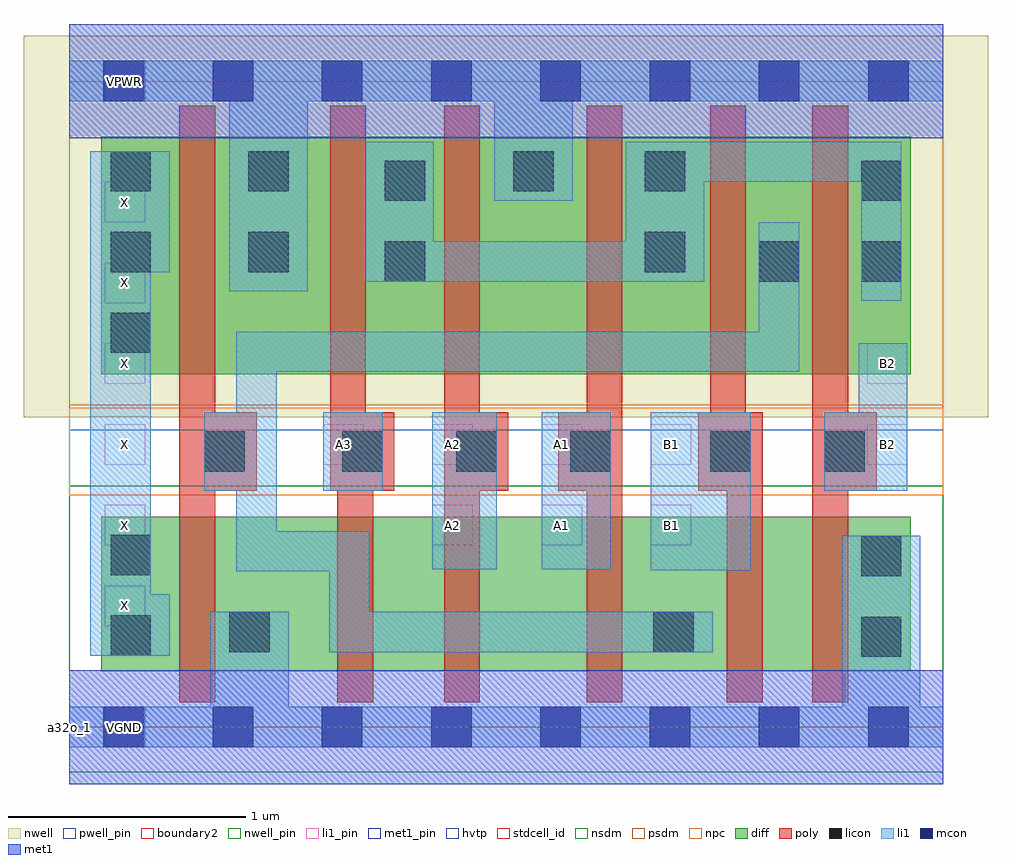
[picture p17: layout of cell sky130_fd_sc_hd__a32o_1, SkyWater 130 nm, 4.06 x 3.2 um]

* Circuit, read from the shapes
.subckt sky130_fd_sc_hd__a32o_1 A1 A2 A3 B1 B2 VGND VNB VPB VPWR X
XM1 VGND n1 X VNB sky130_fd_pr__nfet_01v8 w=0.65 l=0.15
XM2 n2 A3 VGND VNB sky130_fd_pr__nfet_01v8 w=0.65 l=0.15
XM3 n3 A2 n2 VNB sky130_fd_pr__nfet_01v8 w=0.65 l=0.15
XM4 n1 A1 n3 VNB sky130_fd_pr__nfet_01v8 w=0.65 l=0.15
XM5 n4 B1 n1 VNB sky130_fd_pr__nfet_01v8 w=0.65 l=0.15
XM6 VGND B2 n4 VNB sky130_fd_pr__nfet_01v8 w=0.65 l=0.15
XM7 VPWR n1 X VPB sky130_fd_pr__pfet_01v8_hvt w=1 l=0.15
XM8 n5 A3 VPWR VPB sky130_fd_pr__pfet_01v8_hvt w=1 l=0.15
XM9 VPWR A2 n5 VPB sky130_fd_pr__pfet_01v8_hvt w=1 l=0.15
XM10 n5 A1 VPWR VPB sky130_fd_pr__pfet_01v8_hvt w=1 l=0.15
XM11 n1 B1 n5 VPB sky130_fd_pr__pfet_01v8_hvt w=1 l=0.15
XM12 n5 B2 n1 VPB sky130_fd_pr__pfet_01v8_hvt w=1 l=0.15
.ends

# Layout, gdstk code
import gdstk
lib = gdstk.Library(unit=1e-6, precision=1e-09)
def R(c, l, rs):  # rectangles x0, y0, x1, y1
    for r in rs: c.add(gdstk.rectangle(r[:2], r[2:], *l))
def A(c, l, x, y, w, h, nx, ny, dx, dy):  # array of equal rectangles
    R(c, l, [(x+i*dx, y+j*dy, x+i*dx+w, y+j*dy+h) for i in range(nx) for j in range(ny)])
def P(c, l, *ps):  # polygons
    for p in ps: c.add(gdstk.Polygon(p, *l))
nwell_pin = (64, 16)
nwell = (64, 20)
diff = (65, 20)
poly = (66, 20)
licon = (66, 44)
li1_pin = (67, 16)
li1 = (67, 20)
mcon = (67, 44)
met1_pin = (68, 16)
met1 = (68, 20)
hvtp = (78, 44)
stdcell_id = (81, 4)
nsdm = (93, 44)
psdm = (94, 20)
npc = (95, 20)
pwell_pin = (122, 16)
boundary2 = (236, 0)

sky130_fd_sc_hd__a32o_1 = lib.new_cell('sky130_fd_sc_hd__a32o_1')
R(sky130_fd_sc_hd__a32o_1, nwell_pin, [(0.15,2.635,0.32,2.805)])
R(sky130_fd_sc_hd__a32o_1, nwell, [(-0.19,1.305,3.87,2.91)])
R(sky130_fd_sc_hd__a32o_1, diff, [(0.135,0.235,3.545,0.885), (0.135,1.485,3.545,2.485)])
P(sky130_fd_sc_hd__a32o_1, poly, [(0.79,1.325),(0.615,1.325),(0.615,2.615),(0.465,2.615),(0.465,0.105),(0.615,0.105),(0.615,0.995),(0.79,0.995)],
  [(1.37,1.325),(1.25,1.325),(1.25,2.615),(1.1,2.615),(1.1,0.995),(1.13,0.995),(1.13,0.105),(1.28,0.105),(1.28,0.995),(1.37,0.995)],
  [(1.85,1.325),(1.73,1.325),(1.73,2.615),(1.58,2.615),(1.58,0.105),(1.73,0.105),(1.73,0.995),(1.85,0.995)],
  [(2.33,2.615),(2.18,2.615),(2.18,1.325),(2.06,1.325),(2.06,0.995),(2.18,0.995),(2.18,0.105),(2.33,0.105)],
  [(2.92,1.325),(2.85,1.325),(2.85,2.615),(2.7,2.615),(2.7,1.325),(2.65,1.325),(2.65,0.995),(2.77,0.995),(2.77,0.105),(2.92,0.105)],
  [(3.4,1.325),(3.28,1.325),(3.28,2.615),(3.13,2.615),(3.13,0.105),(3.28,0.105),(3.28,0.995),(3.4,0.995)])
A(sky130_fd_sc_hd__a32o_1, licon, 1.15, 1.075, 0.17, 0.17, 3, 1, 0.48, 0)
A(sky130_fd_sc_hd__a32o_1, licon, 0.175, 1.575, 0.17, 0.17, 1, 3, 0, 0.34)
R(sky130_fd_sc_hd__a32o_1, licon, [(3.335,0.295,3.505,0.465), (0.175,0.3,0.345,0.47), (0.675,0.315,0.845,0.485), (2.46,0.315,2.63,0.485), (3.335,0.635,3.505,0.805), (0.175,0.64,0.345,0.81), (0.57,1.075,0.74,1.245), (2.7,1.075,2.87,1.245), (3.18,1.075,3.35,1.245), (1.33,1.875,1.5,2.045), (2.905,1.875,3.075,2.045), (3.335,1.875,3.505,2.045), (0.755,1.915,0.925,2.085), (2.425,1.915,2.595,2.085), (1.33,2.215,1.5,2.385), (3.335,2.215,3.505,2.385), (0.755,2.255,0.925,2.425), (1.87,2.255,2.04,2.425), (2.425,2.255,2.595,2.425)])
A(sky130_fd_sc_hd__a32o_1, li1_pin, 0.15, 0.425, 0.17, 0.17, 1, 6, 0, 0.34)
A(sky130_fd_sc_hd__a32o_1, li1_pin, 1.53, 0.765, 0.17, 0.17, 3, 1, 0.46, 0)
A(sky130_fd_sc_hd__a32o_1, li1_pin, 1.07, 1.105, 0.17, 0.17, 4, 1, 0.46, 0)
R(sky130_fd_sc_hd__a32o_1, li1_pin, [(3.36,1.105,3.53,1.275), (3.36,1.445,3.53,1.615)])
R(sky130_fd_sc_hd__a32o_1, li1, [(2.45,0.66,2.87,1.325), (1.53,0.665,1.8,1.325), (1.99,0.665,2.28,1.325), (1.07,0.995,1.32,1.325)])
P(sky130_fd_sc_hd__a32o_1, li1, [(0.425,0.56),(0.345,0.56),(0.345,1.915),(0.425,1.915),(0.425,2.425),(0.09,2.425),(0.09,0.3),(0.425,0.3)],
  [(3.53,1.615),(3.325,1.615),(3.325,1.325),(3.18,1.325),(3.18,0.995),(3.53,0.995)],
  [(3.075,2.125),(2.905,2.125),(2.905,1.665),(0.705,1.665),(0.705,1.325),(0.57,1.325),(0.57,0.995),(0.705,0.995),(0.705,0.655),(1.095,0.655),(1.095,0.315),(2.71,0.315),(2.71,0.485),(1.265,0.485),(1.265,0.825),(0.875,0.825),(0.875,1.495),(3.075,1.495)],
  [(3.68,2.805),(0,2.805),(0,2.635),(0.675,2.635),(0.675,1.835),(1.005,1.835),(1.005,2.635),(1.79,2.635),(1.79,2.215),(2.12,2.215),(2.12,2.635),(3.68,2.635)],
  [(3.68,0.085),(3.585,0.085),(3.585,0.805),(3.255,0.805),(3.255,0.085),(0.925,0.085),(0.925,0.485),(0.595,0.485),(0.595,0.085),(0,0.085),(0,-0.085),(3.68,-0.085)],
  [(3.505,2.465),(2.345,2.465),(2.345,2.045),(1.535,2.045),(1.535,2.465),(1.25,2.465),(1.25,1.875),(2.675,1.875),(2.675,2.295),(3.335,2.295),(3.335,1.795),(3.505,1.795)])
A(sky130_fd_sc_hd__a32o_1, mcon, 0.145, -0.085, 0.17, 0.17, 8, 2, 0.46, 2.72)
R(sky130_fd_sc_hd__a32o_1, met1_pin, [(0.15,-0.085,0.32,0.085), (0.15,2.635,0.32,2.805)])
R(sky130_fd_sc_hd__a32o_1, hvtp, [(0,1.25,3.68,2.72)])
R(sky130_fd_sc_hd__a32o_1, stdcell_id, [(0,0,3.68,2.72)])
R(sky130_fd_sc_hd__a32o_1, nsdm, [(0,-0.19,3.68,1.015)])
R(sky130_fd_sc_hd__a32o_1, psdm, [(0,1.355,3.68,2.91)])
R(sky130_fd_sc_hd__a32o_1, npc, [(0,0.975,3.68,1.345)])
R(sky130_fd_sc_hd__a32o_1, pwell_pin, [(0.15,-0.085,0.32,0.085)])
R(sky130_fd_sc_hd__a32o_1, boundary2, [(0,0,3.68,2.72)])
sky130_fd_sc_hd__a32o_1.add(gdstk.FlexPath([(0,2.72),(3.68,2.72)], 0.48, ends="flush", simple_path=True, layer=68, datatype=20))  # met1
sky130_fd_sc_hd__a32o_1.add(gdstk.FlexPath([(0,0),(3.68,0)], 0.48, ends="flush", simple_path=True, layer=68, datatype=20))  # met1
sky130_fd_sc_hd__a32o_1.add(gdstk.Label('X', (0.235,0.51), layer=67, texttype=5))
sky130_fd_sc_hd__a32o_1.add(gdstk.Label('X', (0.235,0.85), layer=67, texttype=5))
sky130_fd_sc_hd__a32o_1.add(gdstk.Label('X', (0.235,1.53), layer=67, texttype=5))
sky130_fd_sc_hd__a32o_1.add(gdstk.Label('X', (0.235,1.87), layer=67, texttype=5))
sky130_fd_sc_hd__a32o_1.add(gdstk.Label('X', (0.235,2.21), layer=67, texttype=5))
sky130_fd_sc_hd__a32o_1.add(gdstk.Label('A3', (1.155,1.19), layer=67, texttype=5))
sky130_fd_sc_hd__a32o_1.add(gdstk.Label('B2', (3.445,1.19), layer=67, texttype=5))
sky130_fd_sc_hd__a32o_1.add(gdstk.Label('B1', (2.535,0.85), layer=67, texttype=5))
sky130_fd_sc_hd__a32o_1.add(gdstk.Label('A1', (2.075,0.85), layer=67, texttype=5))
sky130_fd_sc_hd__a32o_1.add(gdstk.Label('A1', (2.075,1.19), layer=67, texttype=5))
sky130_fd_sc_hd__a32o_1.add(gdstk.Label('A2', (1.615,1.19), layer=67, texttype=5))
sky130_fd_sc_hd__a32o_1.add(gdstk.Label('B1', (2.535,1.19), layer=67, texttype=5))
sky130_fd_sc_hd__a32o_1.add(gdstk.Label('B2', (3.445,1.53), layer=67, texttype=5))
sky130_fd_sc_hd__a32o_1.add(gdstk.Label('A2', (1.615,0.85), layer=67, texttype=5))
sky130_fd_sc_hd__a32o_1.add(gdstk.Label('X', (0.235,1.19), layer=67, texttype=5))
sky130_fd_sc_hd__a32o_1.add(gdstk.Label('VGND', (0.235,0), layer=68, texttype=5))
sky130_fd_sc_hd__a32o_1.add(gdstk.Label('VPWR', (0.235,2.72), layer=68, texttype=5))
sky130_fd_sc_hd__a32o_1.add(gdstk.Label('VPB', (0.235,2.72), layer=64, texttype=5))
sky130_fd_sc_hd__a32o_1.add(gdstk.Label('VNB', (0.235,0), layer=64, texttype=59))
sky130_fd_sc_hd__a32o_1.add(gdstk.Label('a32o_1', (0,0), layer=83, texttype=44))

lib.write_gds('sky130_fd_sc_hd__a32o_1.gds')
